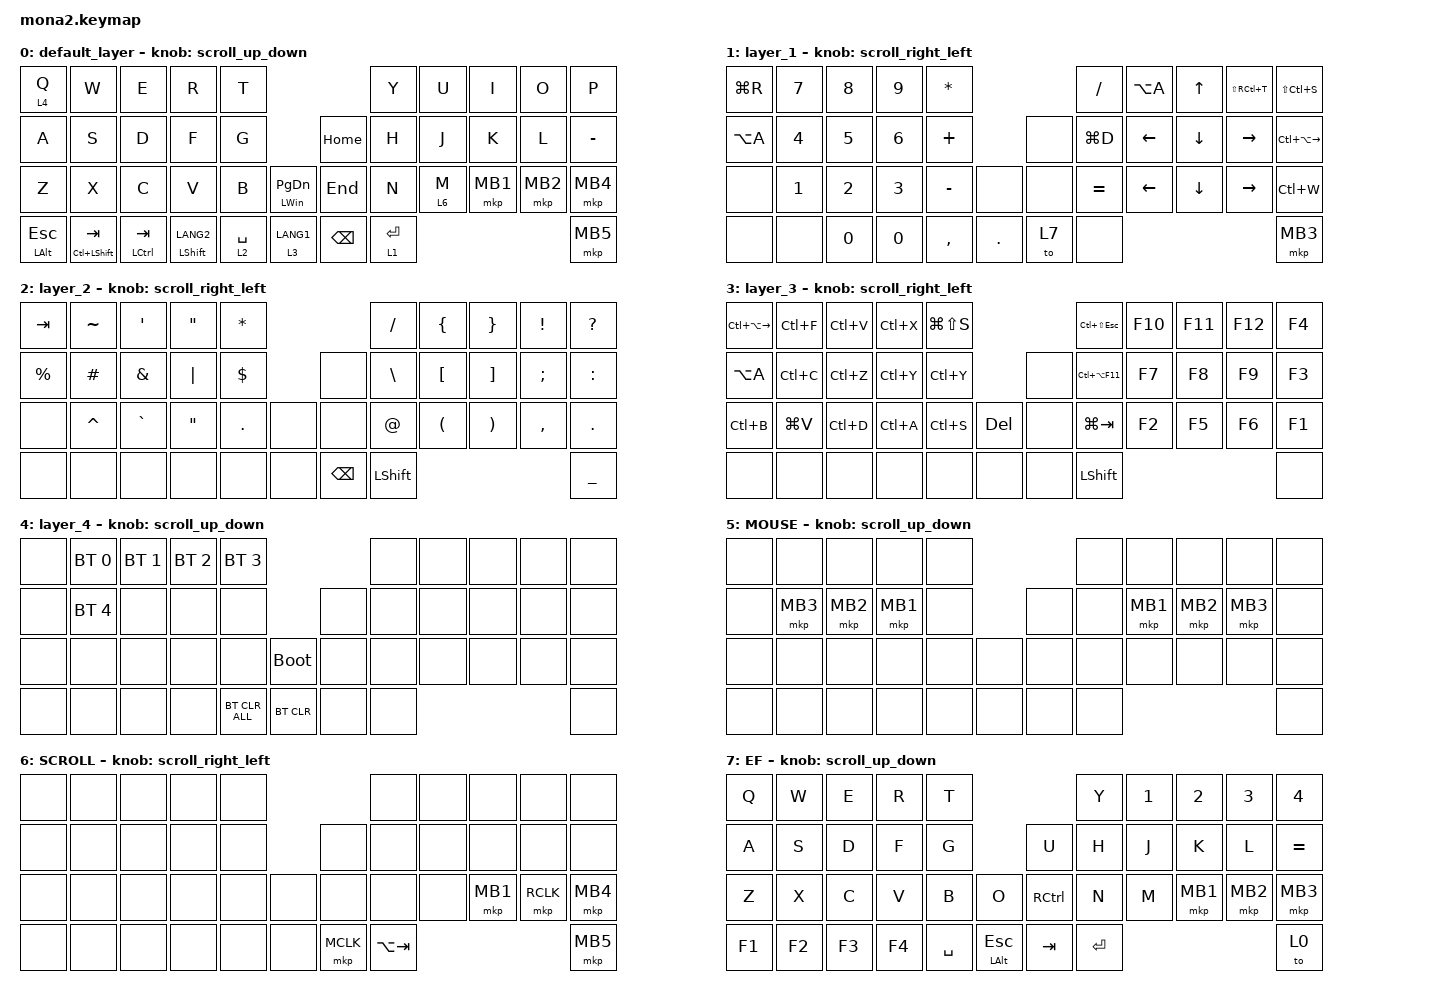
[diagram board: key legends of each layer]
#include <input/processors.dtsi>
#include <dt-bindings/zmk/input_transform.h>
#include <zephyr/dt-bindings/input/input-event-codes.h>
#include <behaviors.dtsi>
#include <dt-bindings/zmk/bt.h>
#include <dt-bindings/zmk/keys.h>
#include <dt-bindings/zmk/pointing.h>

#define ZMK_POINTING_DEFAULT_SCRL_VAL 100
#define MOUSE 5
#define SCROLL 6

&mt {
    flavor = "balanced";
    quick-tap-ms = <0>;
};

&lt {
    quick-tap-ms = <300>;
    flavor = "balanced";
};

/ {
    //combos {
    //    compatible = "zmk,combos";
    //    layer4_ESC {
    //        bindings = <&lt 4 ESC>;
    //        key-positions = <39 38>;
    //    };
    //    tab {
    //        bindings = <&kp TAB>;
    //        key-positions = <11 12>;
    //    };
    //};

    macros {
        to_layer_0: to_layer_0 {
            compatible = "zmk,behavior-macro-one-param";
            #binding-cells = <1>;
            bindings = <&to 0 &macro_param_1to1 &kp MACRO_PLACEHOLDER>;
            label = "TO_LAYER_0";
        };
    };

    behaviors {
        lt_to_layer_0: lt_to_layer_0 {
            compatible = "zmk,behavior-hold-tap";
            label = "LAYER_TAP_TO_0";
            bindings = <&mo>, <&to_layer_0>;

            #binding-cells = <2>;
            tapping-term-ms = <200>;
        };

        scroll_up_down: mouse_wheel_up_down {
            compatible = "zmk,behavior-sensor-rotate";
            #sensor-binding-cells = <0>;
            bindings = <&msc SCRL_DOWN>, <&msc SCRL_UP>;

            tap-ms = <20>;
        };

        scroll_right_left: mouse_wheel_right_left {
            compatible = "zmk,behavior-sensor-rotate";
            #sensor-binding-cells = <0>;
            bindings = <&msc SCRL_LEFT>, <&msc SCRL_RIGHT>;

            tap-ms = <20>;
        };
    };

    keymap {
        compatible = "zmk,keymap";

        default_layer {
            bindings = <
&lt 4 Q           &kp W                   &kp E          &kp R                 &kp T                                                 &kp Y        &kp U    &kp I     &kp O     &kp P
&kp A             &kp S                   &kp D          &kp F                 &kp G                                  &kp HOME       &kp H        &kp J    &kp K     &kp L     &kp MINUS
&kp Z             &kp X                   &kp C          &kp V                 &kp B        &mt LEFT_WIN PAGE_DOWN    &kp END        &kp N        &lt 6 M  &mkp MB1  &mkp MB2  &mkp MB4
&mt LEFT_ALT ESC  &mt LC(LEFT_SHIFT) TAB  &mt LCTRL TAB  &mt LEFT_SHIFT LANG2  &lt 2 SPACE  &lt_to_layer_0 3 LANG1    &kp BACKSPACE  &lt 1 ENTER                               &mkp MB5
            >;

            sensor-bindings = <&scroll_up_down>;
        };

        layer_1 {
            bindings = <
&kp LG(R)  &kp N7        &kp N8        &kp N9        &kp STAR                     &kp SLASH  &kp LA(A)       &kp UP_ARROW    &kp LS(RC(T))    &kp LS(LC(S))
&kp LA(A)  &kp NUMBER_4  &kp N5        &kp NUMBER_6  &kp PLUS              &none  &kp LG(D)  &kp LEFT_ARROW  &kp DOWN_ARROW  &kp RIGHT_ARROW  &kp LC(LA(RIGHT))
&none      &kp NUMBER_1  &kp NUMBER_2  &kp NUMBER_3  &kp MINUS  &none      &none  &kp EQUAL  &kp LEFT_ARROW  &kp DOWN_ARROW  &kp RIGHT_ARROW  &kp LC(W)
&none      &none         &kp N0        &kp N0        &kp COMMA  &kp DOT    &to 7  &none                                                       &mkp MB3
            >;

            sensor-bindings = <&scroll_right_left>;
        };

        layer_2 {
            bindings = <
&kp TAB      &kp TILDE  &kp SQT    &kp DQT   &kp STAR                          &kp SLASH       &kp LEFT_BRACE        &kp RIGHT_BRACE        &kp EXCLAMATION  &kp QUESTION
&kp PERCENT  &kp HASH   &kp AMPS   &kp PIPE  &kp DLLR           &none          &kp BACKSLASH   &kp LEFT_BRACKET      &kp RIGHT_BRACKET      &kp SEMI         &kp COLON
&none        &kp CARET  &kp GRAVE  &kp DQT   &kp DOT   &none    &none          &kp AT          &kp LEFT_PARENTHESIS  &kp RIGHT_PARENTHESIS  &kp COMMA        &kp DOT
&none        &none      &none      &none     &none     &none    &kp BACKSPACE  &kp LEFT_SHIFT                                                                &kp UNDERSCORE
            >;

            sensor-bindings = <&scroll_right_left>;
        };

        layer_3 {
            bindings = <
&kp LC(LA(RIGHT_ARROW))  &kp LC(F)  &kp LC(V)  &kp LC(X)  &kp LG(LS(S))                       &kp LC(LS(ESCAPE))  &kp F10  &kp F11  &kp F12  &kp F4
&kp LA(A)                &kp LC(C)  &kp LC(Z)  &kp LC(Y)  &kp LC(Y)                    &none  &kp LC(LA(F11))     &kp F7   &kp F8   &kp F9   &kp F3
&kp LC(B)                &kp LG(V)  &kp LC(D)  &kp LC(A)  &kp LC(S)      &kp DELETE    &none  &kp LG(TAB)         &kp F2   &kp F5   &kp F6   &kp F1
&none                    &none      &none      &none      &none          &none         &none  &kp LEFT_SHIFT                                 &none
            >;

            sensor-bindings = <&scroll_right_left>;
        };

        layer_4 {
            bindings = <
&none  &bt BT_SEL 0  &bt BT_SEL 1  &bt BT_SEL 2  &bt BT_SEL 3                          &none  &none  &none  &none  &none
&none  &bt BT_SEL 4  &none         &none         &none                          &none  &none  &none  &none  &none  &none
&none  &none         &none         &none         &none           &bootloader    &none  &none  &none  &none  &none  &none
&none  &none         &none         &none         &bt BT_CLR_ALL  &bt BT_CLR     &none  &none                       &none
            >;

            sensor-bindings = <&scroll_up_down>;
        };

        MOUSE {
            bindings = <
&none  &none     &none     &none     &none                  &none  &none     &none     &none     &none
&none  &mkp MB3  &mkp MB2  &mkp MB1  &none           &none  &none  &mkp MB1  &mkp MB2  &mkp MB3  &none
&none  &none     &none     &none     &none  &none    &none  &none  &none     &none     &none     &none
&none  &none     &none     &none     &none  &none    &none  &none                                &none
            >;

            sensor-bindings = <&scroll_up_down>;
        };

        SCROLL {
            bindings = <
&none  &none  &none  &none  &none                      &none        &none  &none     &none      &none
&none  &none  &none  &none  &none           &none      &none        &none  &none     &none      &none
&none  &none  &none  &none  &none  &none    &none      &none        &none  &mkp MB1  &mkp RCLK  &mkp MB4
&none  &none  &none  &none  &none  &none    &mkp MCLK  &kp LA(TAB)                              &mkp MB5
            >;

            sensor-bindings = <&scroll_right_left>;
        };

        EF {
            bindings = <
&kp Q   &kp W   &kp E   &kp R   &kp T                                     &kp Y      &kp N1  &kp N2    &kp N3    &kp N4
&kp A   &kp S   &kp D   &kp F   &kp G                          &kp U      &kp H      &kp J   &kp K     &kp L     &kp EQUAL
&kp Z   &kp X   &kp C   &kp V   &kp B      &kp O               &kp RCTRL  &kp N      &kp M   &mkp MB1  &mkp MB2  &mkp MB3
&kp F1  &kp F2  &kp F3  &kp F4  &kp SPACE  &mt LEFT_ALT ESC    &kp TAB    &kp ENTER                              &to 0
            >;

            sensor-bindings = <&scroll_up_down>;
        };
    };
};
